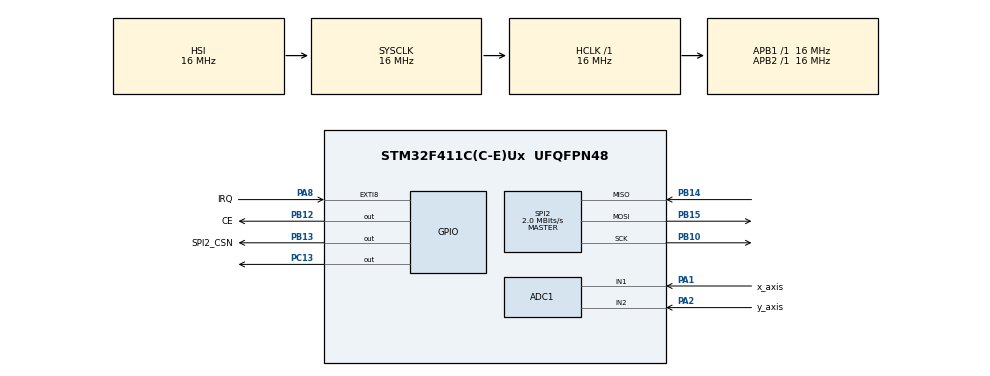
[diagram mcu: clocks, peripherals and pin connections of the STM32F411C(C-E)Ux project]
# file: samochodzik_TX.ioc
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ADC1.Channel-0\#ChannelRegularConversion=ADC_CHANNEL_1
ADC1.Channel-4\#ChannelRegularConversion=ADC_CHANNEL_2
ADC1.ContinuousConvMode=DISABLE
ADC1.DMAContinuousRequests=ENABLE
ADC1.DiscontinuousConvMode=DISABLE
ADC1.EOCSelection=ADC_EOC_SINGLE_CONV
ADC1.ExternalTrigConv=ADC_EXTERNALTRIGCONV_T1_CC2
ADC1.ExternalTrigConvEdge=ADC_EXTERNALTRIGCONVEDGE_RISINGFALLING
ADC1.InjNumberOfConversion=0
ADC1.NbrOfConversion=2
ADC1.NbrOfConversionFlag=1
ADC1.Rank-0\#ChannelRegularConversion=1
ADC1.Rank-4\#ChannelRegularConversion=2
ADC1.SamplingTime-0\#ChannelRegularConversion=ADC_SAMPLETIME_15CYCLES
ADC1.SamplingTime-4\#ChannelRegularConversion=ADC_SAMPLETIME_15CYCLES
ADC1.ScanConvMode=ENABLE
ADC1.master=1
Dma.ADC1.0.Direction=DMA_PERIPH_TO_MEMORY
Dma.ADC1.0.FIFOMode=DMA_FIFOMODE_DISABLE
Dma.ADC1.0.Instance=DMA2_Stream0
Dma.ADC1.0.MemDataAlignment=DMA_MDATAALIGN_WORD
Dma.ADC1.0.MemInc=DMA_MINC_ENABLE
Dma.ADC1.0.Mode=DMA_CIRCULAR
Dma.ADC1.0.PeriphDataAlignment=DMA_PDATAALIGN_WORD
Dma.ADC1.0.PeriphInc=DMA_PINC_DISABLE
Dma.ADC1.0.Priority=DMA_PRIORITY_LOW
Dma.Request0=ADC1
Mcu.Family=STM32F4
Mcu.Name=STM32F411C(C-E)Ux
Mcu.Package=UFQFPN48
NVIC.DMA2_Stream0_IRQn=true\:0\:0\:false\:false\:true\:false\:true\:true
NVIC.EXTI9_5_IRQn=true\:0\:0\:false\:false\:true\:true\:true\:true
NVIC.PriorityGroup=NVIC_PRIORITYGROUP_4
NVIC.TIM2_IRQn=true\:0\:0\:false\:false\:true\:true\:true\:true
PA1.GPIO_Label=x_axis
PA1.Signal=ADCx_IN1
PA2.GPIO_Label=y_axis
PA2.Signal=ADCx_IN2
PA8.GPIO_Label=IRQ
PA8.GPIO_ModeDefaultEXTI=GPIO_MODE_IT_FALLING
PA8.Signal=GPXTI8
PB10.Mode=Full_Duplex_Master
PB10.Signal=SPI2_SCK
PB12.GPIO_Label=CE
PB12.GPIO_Speed=GPIO_SPEED_FREQ_HIGH
PB12.Signal=GPIO_Output
PB13.GPIO_Label=SPI2_CSN
PB13.GPIO_Speed=GPIO_SPEED_FREQ_HIGH
PB13.PinState=GPIO_PIN_SET
PB13.Signal=GPIO_Output
PB14.Mode=Full_Duplex_Master
PB14.Signal=SPI2_MISO
PB15.Mode=Full_Duplex_Master
PB15.Signal=SPI2_MOSI
PC13-ANTI_TAMP.PinState=GPIO_PIN_SET
PC13-ANTI_TAMP.Signal=GPIO_Output
ProjectManager.HeapSize=0x200
ProjectManager.StackSize=0x400
ProjectManager.TargetToolchain=STM32CubeIDE
RCC.AHBFreq_Value=16000000
RCC.APB1Freq_Value=16000000
RCC.APB2Freq_Value=16000000
RCC.CortexFreq_Value=16000000
RCC.HSE_VALUE=25000000
RCC.HSI_VALUE=16000000
RCC.LSE_VALUE=32768
RCC.SYSCLKFreq_VALUE=16000000
RCC.VCOOutputFreq_Value=192000000
SH.ADCx_IN1.0=ADC1_IN1,IN1
SH.ADCx_IN2.0=ADC1_IN2,IN2
SPI2.BaudRatePrescaler=SPI_BAUDRATEPRESCALER_8
SPI2.CalculateBaudRate=2.0 MBits/s
SPI2.Direction=SPI_DIRECTION_2LINES
SPI2.Mode=SPI_MODE_MASTER
SPI2.VirtualType=VM_MASTER
TIM1.AutoReloadPreload=TIM_AUTORELOAD_PRELOAD_DISABLE
TIM1.Channel-Output\ Compare2\ No\ Output=TIM_CHANNEL_2
TIM1.OC2Preload=DISABLE
TIM1.OCMode_2=TIM_OCMODE_TOGGLE
TIM1.Period=16000-1
TIM1.Prescaler=0
TIM1.Pulse-Output\ Compare2\ No\ Output=1
TIM2.Period=100-1
TIM2.Prescaler=16000-1
VP_TIM1_VS_ClockSourceINT.Mode=Internal
VP_TIM1_VS_no_output2.Mode=Output Compare2 No Output
VP_TIM2_VS_ClockSourceINT.Mode=Internal
board=custom

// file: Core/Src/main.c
/* USER CODE BEGIN Header */
/**
  ******************************************************************************
  * @file           : main.c
  * @brief          : Main program body
  ******************************************************************************
  * @attention
  *
  * Copyright (c) 2022 STMicroelectronics.
  * All rights reserved.
  *
  * This software is licensed under terms that can be found in the LICENSE file
  * in the root directory of this software component.
  * If no LICENSE file comes with this software, it is provided AS-IS.
  *
  ******************************************************************************
  */
/* USER CODE END Header */
#include "main.h"
#include "adc.h"
#include "dma.h"
#include "spi.h"
#include "tim.h"
#include "gpio.h"

/* USER CODE BEGIN Includes */
#include "nrf24l01p.h"
/* USER CODE END Includes */

void SystemClock_Config(void);
/* USER CODE BEGIN PFP */

void HAL_GPIO_EXTI_Callback(uint16_t GPIO_Pin);
void CodeCommand();

/* USER CODE END PFP */

/* USER CODE BEGIN 0 */

uint8_t tx_data[NRF24L01P_PAYLOAD_LENGTH] = {0};
uint32_t jStick[2] = {50000, 50000};

/* USER CODE END 0 */

int main(void)
{

  /* MCU Configuration--------------------------------------------------------*/

  /* Reset of all peripherals, Initializes the Flash interface and the Systick. */
  HAL_Init();

  /* Configure the system clock */
  SystemClock_Config();

  /* Initialize all configured peripherals */
  MX_GPIO_Init();
  MX_DMA_Init();
  MX_SPI2_Init();
  MX_ADC1_Init();
  MX_TIM1_Init();
  MX_TIM2_Init();
  /* USER CODE BEGIN 2 */
  nrf24l01p_tx_init(2500, _1Mbps);

  HAL_ADC_Start_DMA(&hadc1, jStick, (uint32_t) 2);
  HAL_TIM_OC_Start(&htim1, TIM_CHANNEL_2);
  HAL_TIM_Base_Start_IT(&htim2);

  /* USER CODE END 2 */

  /* Infinite loop */
  while (1)
  {

  }
}

void SystemClock_Config(void)
{
  RCC_OscInitTypeDef RCC_OscInitStruct = {0};
  RCC_ClkInitTypeDef RCC_ClkInitStruct = {0};

  /** Configure the main internal regulator output voltage
  */
  __HAL_RCC_PWR_CLK_ENABLE();
  __HAL_PWR_VOLTAGESCALING_CONFIG(PWR_REGULATOR_VOLTAGE_SCALE1);

  /** Initializes the RCC Oscillators according to the specified parameters
  * in the RCC_OscInitTypeDef structure.
  */
  RCC_OscInitStruct.OscillatorType = RCC_OSCILLATORTYPE_HSI;
  RCC_OscInitStruct.HSIState = RCC_HSI_ON;
  RCC_OscInitStruct.HSICalibrationValue = RCC_HSICALIBRATION_DEFAULT;
  RCC_OscInitStruct.PLL.PLLState = RCC_PLL_NONE;
  if (HAL_RCC_OscConfig(&RCC_OscInitStruct) != HAL_OK)
  {
    Error_Handler();
  }

  /** Initializes the CPU, AHB and APB buses clocks
  */
  RCC_ClkInitStruct.ClockType = RCC_CLOCKTYPE_HCLK|RCC_CLOCKTYPE_SYSCLK
                              |RCC_CLOCKTYPE_PCLK1|RCC_CLOCKTYPE_PCLK2;
  RCC_ClkInitStruct.SYSCLKSource = RCC_SYSCLKSOURCE_HSI;
  RCC_ClkInitStruct.AHBCLKDivider = RCC_SYSCLK_DIV1;
  RCC_ClkInitStruct.APB1CLKDivider = RCC_HCLK_DIV1;
  RCC_ClkInitStruct.APB2CLKDivider = RCC_HCLK_DIV1;

  if (HAL_RCC_ClockConfig(&RCC_ClkInitStruct, FLASH_LATENCY_0) != HAL_OK)
  {
    Error_Handler();
  }
}

/* USER CODE BEGIN 4 */
void HAL_GPIO_EXTI_Callback(uint16_t GPIO_Pin)
{
	if(GPIO_Pin == NRF24L01P_IRQ_PIN_NUMBER)
		nrf24l01p_tx_irq(); // clear interrupt flag
}

void CodeCommand()
{
	if (jStick[0] > 1250 && jStick[1] > 1250 && jStick[0] < 2750 && jStick[1] < 2750)
	{
		tx_data[0] = 0;
	}
	else if (jStick[1] < 1250 && jStick[0] > 1250 && jStick[0] < 2750)
	{
		tx_data[0] = 1;
	}
	else if (jStick[0] > 2750 && jStick[1] > 1250 && jStick[1] < 2750)
	{
		tx_data[0] = 2;
	}
	else if (jStick[0] < 1250 && jStick[1] > 1250 && jStick[1] < 2750)
	{
		tx_data[0] = 4;
	}
	else if (jStick[1] > 2750 && jStick[0] > 1250 && jStick[0] < 2750)
	{
		tx_data[0] = 6;
	}
	else if (jStick[0] > 2750 && jStick[1] < 1250)
	{
		tx_data[0] = 3;
	}
	else if (jStick[0] < 1250 && jStick[1] < 1250)
	{
		tx_data[0] = 5;
	}
	else if (jStick[0] > 2750 && jStick[1] > 2750)
	{
		tx_data[0] = 7;
	}
	else if (jStick[0] < 1250 && jStick[1] > 2750)
	{
		tx_data[0] = 8;
	}
	else
	{
		tx_data[0] = 0;
	}
}
/* USER CODE END 4 */

void Error_Handler(void)
{
  __disable_irq();
  while (1)
  {
  }
}
